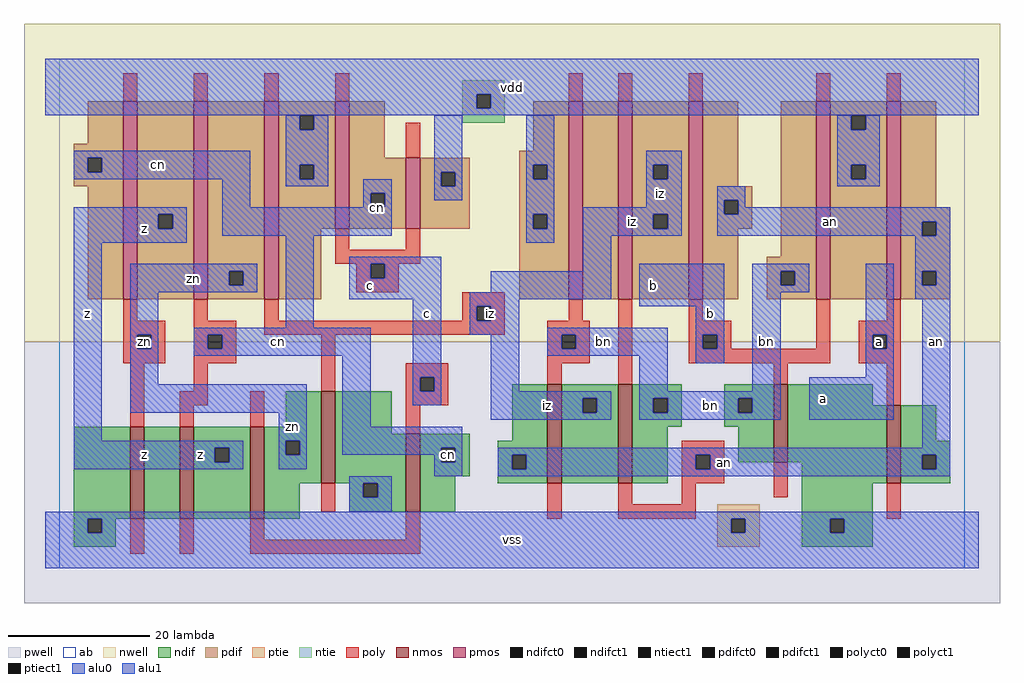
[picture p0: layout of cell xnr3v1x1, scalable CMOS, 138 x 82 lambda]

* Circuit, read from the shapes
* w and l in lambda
.subckt xnr3v1x1 a an b bn c cn iz vdd vss z zn
M1 n1 zn vss vss nfet w=13 l=2
M2 z cn n1 vss nfet w=13 l=2
M3 zn c z vss nfet w=13 l=2
M4 vss iz zn vss nfet w=13 l=2
M5 cn c vss vss nfet w=11 l=2
M6 iz bn an vss nfet w=14 l=2
M7 bn an iz vss nfet w=14 l=2
M8 vss b bn vss nfet w=11 l=2
M9 an a vss vss nfet w=11 l=2
M10 z zn cn vdd pfet w=28 l=2
M11 zn cn z vdd pfet w=28 l=2
M12 vdd iz zn vdd pfet w=28 l=2
M13 cn c vdd vdd pfet w=18 l=2
M14 vdd c cn vdd pfet w=10 l=2
M15 n2 bn vdd vdd pfet w=28 l=2
M16 iz an n2 vdd pfet w=28 l=2
M17 an b iz vdd pfet w=28 l=2
M18 vdd b bn vdd pfet w=28 l=2
M19 an a vdd vdd pfet w=28 l=2
.ends

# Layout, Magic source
magic
tech scmos
<< ab >>
rect 0 0 128 72
<< nwell >>
rect -5 32 133 77
<< pwell >>
rect -5 -5 133 32
<< poly >>
rect 9 66 11 70
rect 19 66 21 70
rect 29 66 31 70
rect 39 66 41 70
rect 72 66 74 70
rect 79 66 81 70
rect 89 66 91 70
rect 107 66 109 70
rect 117 66 119 70
rect 49 58 51 63
rect 39 45 41 48
rect 49 45 51 48
rect 39 43 51 45
rect 42 41 44 43
rect 46 41 48 43
rect 42 39 48 41
rect 9 35 11 38
rect 19 35 21 38
rect 29 35 31 38
rect 57 37 63 39
rect 57 35 59 37
rect 61 35 63 37
rect 72 35 74 38
rect 9 33 15 35
rect 9 31 11 33
rect 13 31 15 33
rect 9 29 15 31
rect 19 33 25 35
rect 29 33 63 35
rect 69 33 75 35
rect 19 31 21 33
rect 23 31 25 33
rect 19 29 25 31
rect 10 20 12 29
rect 19 25 21 29
rect 37 25 39 33
rect 69 31 71 33
rect 73 31 75 33
rect 69 29 75 31
rect 49 27 55 29
rect 49 25 51 27
rect 53 25 55 27
rect 69 26 71 29
rect 79 26 81 38
rect 89 35 91 38
rect 89 33 95 35
rect 89 31 91 33
rect 93 31 95 33
rect 107 31 109 38
rect 117 35 119 38
rect 89 29 109 31
rect 113 33 119 35
rect 113 31 115 33
rect 117 31 119 33
rect 113 29 119 31
rect 101 26 103 29
rect 17 23 21 25
rect 17 20 19 23
rect 27 20 29 25
rect 49 23 55 25
rect 49 19 51 23
rect 37 8 39 12
rect 88 16 94 18
rect 88 14 90 16
rect 92 14 94 16
rect 117 23 119 29
rect 88 12 94 14
rect 10 2 12 7
rect 17 2 19 7
rect 27 4 29 7
rect 49 4 51 8
rect 69 7 71 12
rect 79 9 81 12
rect 88 9 90 12
rect 101 10 103 15
rect 79 7 90 9
rect 27 2 51 4
rect 117 7 119 12
<< ndif >>
rect 32 20 37 25
rect 2 7 10 20
rect 12 7 17 20
rect 19 17 27 20
rect 19 15 22 17
rect 24 15 27 17
rect 19 7 27 15
rect 29 18 37 20
rect 29 16 32 18
rect 34 16 37 18
rect 29 12 37 16
rect 39 19 47 25
rect 39 12 49 19
rect 29 7 34 12
rect 41 10 43 12
rect 45 10 49 12
rect 41 8 49 10
rect 51 17 58 19
rect 64 18 69 26
rect 51 15 54 17
rect 56 15 58 17
rect 51 13 58 15
rect 62 16 69 18
rect 62 14 64 16
rect 66 14 69 16
rect 51 8 56 13
rect 62 12 69 14
rect 71 24 79 26
rect 71 22 74 24
rect 76 22 79 24
rect 71 12 79 22
rect 81 24 88 26
rect 81 22 84 24
rect 86 22 88 24
rect 81 20 88 22
rect 94 24 101 26
rect 94 22 96 24
rect 98 22 101 24
rect 94 20 101 22
rect 81 12 86 20
rect 96 15 101 20
rect 103 23 115 26
rect 103 15 117 23
rect 2 5 4 7
rect 6 5 8 7
rect 2 3 8 5
rect 105 12 117 15
rect 119 18 124 23
rect 119 16 126 18
rect 119 14 122 16
rect 124 14 126 16
rect 119 12 126 14
rect 105 7 115 12
rect 105 5 109 7
rect 111 5 115 7
rect 105 3 115 5
<< pdif >>
rect 4 60 9 66
rect 2 58 9 60
rect 2 56 4 58
rect 6 56 9 58
rect 2 54 9 56
rect 4 38 9 54
rect 11 50 19 66
rect 11 48 14 50
rect 16 48 19 50
rect 11 38 19 48
rect 21 42 29 66
rect 21 40 24 42
rect 26 40 29 42
rect 21 38 29 40
rect 31 64 39 66
rect 31 62 34 64
rect 36 62 39 64
rect 31 57 39 62
rect 31 55 34 57
rect 36 55 39 57
rect 31 48 39 55
rect 41 58 46 66
rect 67 59 72 66
rect 41 53 49 58
rect 41 51 44 53
rect 46 51 49 53
rect 41 48 49 51
rect 51 56 58 58
rect 51 54 54 56
rect 56 54 58 56
rect 51 48 58 54
rect 65 57 72 59
rect 65 55 67 57
rect 69 55 72 57
rect 65 50 72 55
rect 65 48 67 50
rect 69 48 72 50
rect 31 38 37 48
rect 65 38 72 48
rect 74 38 79 66
rect 81 57 89 66
rect 81 55 84 57
rect 86 55 89 57
rect 81 50 89 55
rect 81 48 84 50
rect 86 48 89 50
rect 81 38 89 48
rect 91 54 96 66
rect 91 52 98 54
rect 91 50 94 52
rect 96 50 98 52
rect 91 48 98 50
rect 91 38 96 48
rect 102 44 107 66
rect 100 42 107 44
rect 100 40 102 42
rect 104 40 107 42
rect 100 38 107 40
rect 109 64 117 66
rect 109 62 112 64
rect 114 62 117 64
rect 109 57 117 62
rect 109 55 112 57
rect 114 55 117 57
rect 109 38 117 55
rect 119 51 124 66
rect 119 49 126 51
rect 119 47 122 49
rect 124 47 126 49
rect 119 42 126 47
rect 119 40 122 42
rect 124 40 126 42
rect 119 38 126 40
<< alu1 >>
rect -2 67 130 72
rect -2 65 59 67
rect 61 65 130 67
rect -2 64 130 65
rect 2 50 18 51
rect 2 48 14 50
rect 16 48 18 50
rect 2 46 18 48
rect 2 18 6 46
rect 41 43 54 44
rect 41 41 44 43
rect 46 41 54 43
rect 41 38 54 41
rect 2 17 26 18
rect 2 15 22 17
rect 24 15 26 17
rect 2 14 26 15
rect 50 27 54 38
rect 82 37 94 43
rect 50 25 51 27
rect 53 25 54 27
rect 50 23 54 25
rect 90 33 94 37
rect 90 31 91 33
rect 93 31 94 33
rect 90 29 94 31
rect 114 33 118 43
rect 114 31 115 33
rect 117 31 118 33
rect 114 27 118 31
rect 106 21 118 27
rect -2 7 130 8
rect -2 5 4 7
rect 6 5 95 7
rect 97 5 109 7
rect 111 5 130 7
rect -2 0 130 5
<< ptie >>
rect 93 7 99 9
rect 93 5 95 7
rect 97 5 99 7
rect 93 3 99 5
<< ntie >>
rect 57 67 63 69
rect 57 65 59 67
rect 61 65 63 67
rect 57 63 63 65
<< nmos >>
rect 10 7 12 20
rect 17 7 19 20
rect 27 7 29 20
rect 37 12 39 25
rect 49 8 51 19
rect 69 12 71 26
rect 79 12 81 26
rect 101 15 103 26
rect 117 12 119 23
<< pmos >>
rect 9 38 11 66
rect 19 38 21 66
rect 29 38 31 66
rect 39 48 41 66
rect 49 48 51 58
rect 72 38 74 66
rect 79 38 81 66
rect 89 38 91 66
rect 107 38 109 66
rect 117 38 119 66
<< polyct0 >>
rect 59 35 61 37
rect 11 31 13 33
rect 21 31 23 33
rect 71 31 73 33
rect 90 14 92 16
<< polyct1 >>
rect 44 41 46 43
rect 51 25 53 27
rect 91 31 93 33
rect 115 31 117 33
<< ndifct0 >>
rect 32 16 34 18
rect 43 10 45 12
rect 54 15 56 17
rect 64 14 66 16
rect 74 22 76 24
rect 84 22 86 24
rect 96 22 98 24
rect 122 14 124 16
<< ndifct1 >>
rect 22 15 24 17
rect 4 5 6 7
rect 109 5 111 7
<< ntiect1 >>
rect 59 65 61 67
<< ptiect1 >>
rect 95 5 97 7
<< pdifct0 >>
rect 4 56 6 58
rect 24 40 26 42
rect 34 62 36 64
rect 34 55 36 57
rect 44 51 46 53
rect 54 54 56 56
rect 67 55 69 57
rect 67 48 69 50
rect 84 55 86 57
rect 84 48 86 50
rect 94 50 96 52
rect 102 40 104 42
rect 112 62 114 64
rect 112 55 114 57
rect 122 47 124 49
rect 122 40 124 42
<< pdifct1 >>
rect 14 48 16 50
<< alu0 >>
rect 32 62 34 64
rect 36 62 38 64
rect 2 58 27 59
rect 2 56 4 58
rect 6 56 27 58
rect 2 55 27 56
rect 23 51 27 55
rect 32 57 38 62
rect 32 55 34 57
rect 36 55 38 57
rect 53 56 57 64
rect 32 54 38 55
rect 43 53 47 55
rect 43 51 44 53
rect 46 51 47 53
rect 53 54 54 56
rect 56 54 57 56
rect 53 52 57 54
rect 66 57 70 64
rect 110 62 112 64
rect 114 62 116 64
rect 66 55 67 57
rect 69 55 70 57
rect 23 47 47 51
rect 66 50 70 55
rect 83 57 88 59
rect 83 55 84 57
rect 86 55 88 57
rect 83 51 88 55
rect 110 57 116 62
rect 110 55 112 57
rect 114 55 116 57
rect 110 54 116 55
rect 66 48 67 50
rect 69 48 70 50
rect 10 42 28 43
rect 10 40 24 42
rect 26 40 28 42
rect 10 39 28 40
rect 10 33 14 39
rect 32 34 36 47
rect 66 46 70 48
rect 74 50 88 51
rect 74 48 84 50
rect 86 48 88 50
rect 74 47 88 48
rect 93 52 97 54
rect 93 50 94 52
rect 96 51 97 52
rect 96 50 126 51
rect 93 49 126 50
rect 93 47 122 49
rect 124 47 126 49
rect 74 42 78 47
rect 61 39 78 42
rect 10 31 11 33
rect 13 31 14 33
rect 10 26 14 31
rect 19 33 44 34
rect 19 31 21 33
rect 23 31 44 33
rect 19 30 44 31
rect 10 22 35 26
rect 31 18 35 22
rect 31 16 32 18
rect 34 16 35 18
rect 40 20 44 30
rect 58 38 78 39
rect 58 37 65 38
rect 58 35 59 37
rect 61 35 65 37
rect 58 33 65 35
rect 61 25 65 33
rect 69 33 86 34
rect 69 31 71 33
rect 73 31 86 33
rect 69 30 86 31
rect 82 25 86 30
rect 98 42 106 43
rect 98 40 102 42
rect 104 40 106 42
rect 98 39 106 40
rect 98 25 102 39
rect 121 42 126 47
rect 121 40 122 42
rect 124 40 126 42
rect 121 38 126 40
rect 61 24 78 25
rect 61 22 74 24
rect 76 22 78 24
rect 61 21 78 22
rect 82 24 102 25
rect 82 22 84 24
rect 86 22 96 24
rect 98 22 102 24
rect 82 21 102 22
rect 40 17 57 20
rect 122 17 126 38
rect 40 16 54 17
rect 31 14 35 16
rect 53 15 54 16
rect 56 15 57 17
rect 53 13 57 15
rect 62 16 126 17
rect 62 14 64 16
rect 66 14 90 16
rect 92 14 122 16
rect 124 14 126 16
rect 62 13 126 14
rect 41 12 47 13
rect 41 10 43 12
rect 45 10 47 12
rect 41 8 47 10
<< labels >>
rlabel polyct0 12 32 12 32 6 zn
rlabel alu0 19 41 19 41 6 zn
rlabel alu0 14 57 14 57 6 cn
rlabel ndifct0 55 16 55 16 6 cn
rlabel alu0 33 20 33 20 6 zn
rlabel alu0 31 32 31 32 6 cn
rlabel alu0 45 51 45 51 6 cn
rlabel alu0 69 23 69 23 6 iz
rlabel alu0 77 32 77 32 6 bn
rlabel alu0 61 36 61 36 6 iz
rlabel alu0 81 49 81 49 6 iz
rlabel alu0 85 53 85 53 6 iz
rlabel alu0 94 15 94 15 6 an
rlabel alu0 92 23 92 23 6 bn
rlabel alu0 100 32 100 32 6 bn
rlabel alu0 124 32 124 32 6 an
rlabel alu0 109 49 109 49 6 an
rlabel alu1 20 16 20 16 6 z
rlabel alu1 12 16 12 16 6 z
rlabel alu1 4 36 4 36 6 z
rlabel alu1 12 48 12 48 6 z
rlabel alu1 52 36 52 36 6 c
rlabel alu1 44 40 44 40 6 c
rlabel alu1 64 4 64 4 6 vss
rlabel alu1 92 36 92 36 6 b
rlabel alu1 84 40 84 40 6 b
rlabel alu1 64 68 64 68 6 vdd
rlabel polyct1 116 32 116 32 6 a
rlabel alu1 108 24 108 24 6 a
<< end >>
